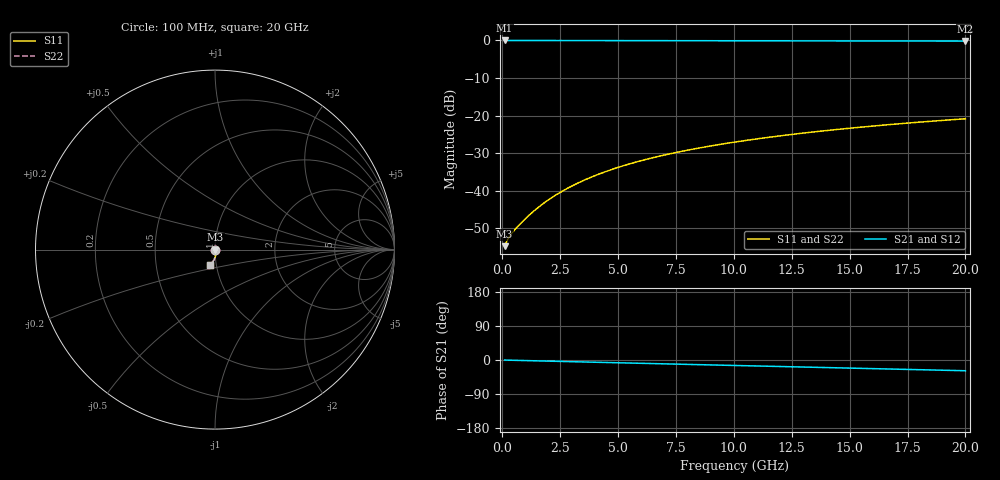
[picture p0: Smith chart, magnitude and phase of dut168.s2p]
! Touchstone file exported from HFSS 2026.1.0
!  File:  C:/ffzhzh/LocalFiles/Ansys_Project_Files/temp_train_BSMRDL_168_1782986969_42984.aedt
!  Generated:  06:10:35 PM Jul  2, 2026
!  Design:  BSMRDL
!  Project:  temp_train_BSMRDL_168_1782986969_42984
! Variables:
!  h_bsmrdl = 5.86um
!  h_ox = 20um
!  h_rdl = 5um
!  h_sub = 80um
!  h_tmrdl = 5um
!  h_tsv = 80um
!  h_via = 3um
!  l_bsmrdl = 504.2um
!  l_sub = 904.2um
!  l_tmrdl = 200um
!  m_sub = 200um
!  pitch = 22.66um
!  r_tsv = 6um
!  s_tmrdl = 10um
!  w_bsmrdl = 19.24um
!  w_sub = 500um
!  w_tmrdl = 12um
!  x_tsv_center1 = 206um
!  x_tsv_center2 = 729.44um
!  x_tsv_center3 = 941.44um
!  x_tsv_center4 = 1464.88um
!  x_tsv_center5 = 1676.88um
!  x_tsv_center6 = 2200.32um
# GHz S MA R 50.000000
! Terminal data exported
! Port[1] = BSM_RDL1_1_T1
! Port[2] = BSM_RDL1_1_T2
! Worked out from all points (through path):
!   200 points, 100 MHz to 20 GHz, reference 50 ohm
!   highest |S21| = -0.02 dB at 100 MHz (marker M1); lowest = -0.2 dB at 20 GHz (marker M2)
!   group delay of S21, straight-line fit = 3.92 ps
!   lowest |S11| = -54.7 dB at 100 MHz (marker M3), VSWR 1.00, Z = 50.2 + j0.0119 ohm
!   |S11| at or under -10 dB: start of sweep to end of sweep
!   |S22| runs from -54.7 to -20.8 dB; largest |S21 - S12| = 1.2e-14
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0.1  0.001839 3.7  0.9982 -0.2  0.9982 -0.2  0.001839 3.7
! Gamma 0 0 0 0
! Port Impedance 50 0 50 0
0.2  0.002155 0.0  0.9978 -0.3  0.9978 -0.3  0.002155 0.0
0.3  0.002448 -6.9  0.9976 -0.5  0.9976 -0.5  0.002448 -6.9
0.4  0.002705 -14.1  0.9974 -0.6  0.9974 -0.6  0.002705 -14.1
0.5  0.002949 -20.6  0.9972 -0.8  0.9972 -0.8  0.002949 -20.6
0.9  0.003985 -39.4  0.9968 -1.4  0.9968 -1.4  0.003985 -39.4
1.4  0.005515 -52.2  0.9964 -2.1  0.9964 -2.1  0.005515 -52.2
1.9  0.007252 -59.3  0.9959 -2.9  0.9959 -2.9  0.007251 -59.3
2.4  0.009145 -63.9  0.9954 -3.6  0.9954 -3.6  0.009144 -63.9
2.9  0.01116 -67.2  0.9948 -4.3  0.9948 -4.3  0.01116 -67.2
3.5  0.01372 -70.4  0.9941 -5.2  0.9941 -5.2  0.01372 -70.4
4.2  0.01683 -73.4  0.9933 -6.2  0.9933 -6.2  0.01683 -73.4
5  0.0205 -76.4  0.9925 -7.3  0.9925 -7.3  0.0205 -76.4
5.9  0.02472 -79.4  0.9915 -8.6  0.9915 -8.6  0.02472 -79.4
6.8  0.029 -82.1  0.9907 -9.9  0.9907 -9.9  0.029 -82.1
8.3  0.03617 -86.0  0.9893 -12.0  0.9893 -12.0  0.03617 -86.0
10.1  0.0448 -90.2  0.9878 -14.5  0.9878 -14.5  0.04479 -90.2
11.7  0.05243 -93.5  0.9864 -16.8  0.9864 -16.8  0.05243 -93.5
13.4  0.06049 -96.9  0.985 -19.2  0.985 -19.2  0.06049 -96.9
15  0.06801 -99.8  0.9836 -21.4  0.9836 -21.4  0.068 -99.8
16.7  0.0759 -102.8  0.9822 -23.8  0.9822 -23.8  0.07589 -102.8
20  0.09086 -108.3  0.9792 -28.4  0.9792 -28.4  0.09085 -108.3
